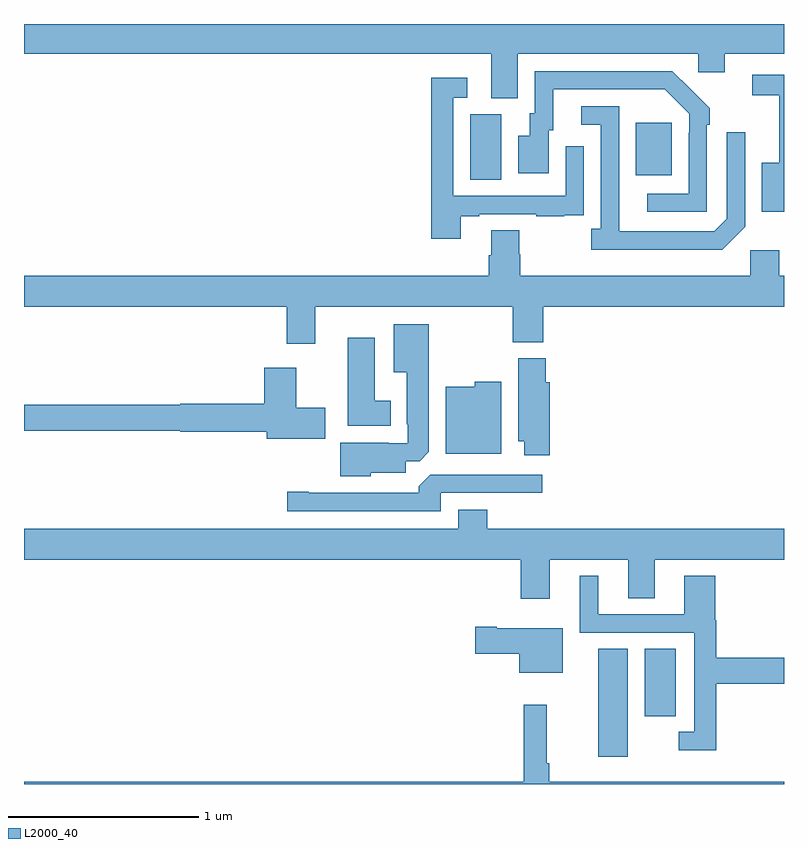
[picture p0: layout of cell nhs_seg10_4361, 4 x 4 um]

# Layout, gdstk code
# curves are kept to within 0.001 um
import gdstk
lib = gdstk.Library(unit=1e-6, precision=1e-09)
def R(c, l, rs):  # rectangles x0, y0, x1, y1
    for r in rs: c.add(gdstk.rectangle(r[:2], r[2:], *l))
def P(c, l, *ps):  # polygons
    for p in ps: c.add(gdstk.Polygon(p, *l))
L2000_40 = (2000, 40)

nhs_seg10_4361 = lib.new_cell('nhs_seg10_4361')
R(nhs_seg10_4361, L2000_40, [(360.023,1268.643,360.178,1269.212), (360.266,1268.856,360.43,1269.212), (359.348,1271.68,359.512,1272.024), (360.221,1271.705,360.409,1271.98)])
P(nhs_seg10_4361, L2000_40, [(359.599,1272.344),(360.549,1272.344),(360.549,1272.246),(360.688,1272.246),(360.688,1272.344),(361,1272.344),(361,1272.5),(357,1272.5),(357,1272.344),(359.459,1272.344),(359.459,1272.109),(359.599,1272.109)],
  [(360.594,1271.969),(360.609,1271.969),(360.609,1272.057),(360.412,1272.252),(359.688,1272.252),(359.688,1272.03),(359.663,1272.03),(359.663,1271.911),(359.6,1271.911),(359.6,1271.715),(359.761,1271.715),(359.761,1271.94),(359.785,1271.94),(359.785,1272.156),(360.373,1272.156),(360.501,1272.027),(360.501,1271.927),(360.498,1271.927),(360.498,1271.607),(360.279,1271.607),(360.279,1271.511),(360.594,1271.511)],
  [(361,1272.234),(360.834,1272.234),(360.834,1272.126),(360.974,1272.126),(360.974,1271.77),(360.884,1271.77),(360.884,1271.513),(361,1271.513)],
  [(359.299,1271.487),(359.395,1271.487),(359.395,1271.499),(359.695,1271.499),(359.695,1271.487),(359.843,1271.487),(359.843,1271.493),(359.945,1271.493),(359.945,1271.602),(359.946,1271.602),(359.946,1271.857),(359.85,1271.857),(359.85,1271.595),(359.259,1271.595),(359.259,1272.111),(359.332,1272.111),(359.332,1272.217),(359.143,1272.217),(359.143,1271.37),(359.299,1271.37)],
  [(360.795,1271.433),(360.795,1271.929),(360.699,1271.929),(360.699,1271.475),(360.633,1271.409),(360.133,1271.409),(360.132,1272.066),(359.934,1272.066),(359.934,1271.97),(360.036,1271.97),(360.036,1271.422),(359.985,1271.422),(359.985,1271.312),(360.674,1271.312)],
  [(358.534,1271.012),(359.572,1271.012),(359.572,1270.825),(359.732,1270.825),(359.732,1271.012),(361,1271.012),(361,1271.176),(360.974,1271.176),(360.974,1271.308),(360.822,1271.308),(360.822,1271.176),(359.612,1271.176),(359.612,1271.289),(359.607,1271.289),(359.607,1271.414),(359.459,1271.414),(359.459,1271.282),(359.447,1271.282),(359.447,1271.176),(357,1271.176),(357,1271.012),(358.382,1271.012),(358.382,1270.818),(358.534,1270.818)],
  [(358.824,1270.139),(359.008,1270.139),(359.008,1270.2),(359.082,1270.2),(359.131,1270.249),(359.131,1270.921),(358.946,1270.921),(358.946,1270.667),(359.015,1270.667),(359.015,1270.393),(359.019,1270.393),(359.019,1270.293),(358.919,1270.293),(358.919,1270.297),(358.664,1270.297),(358.664,1270.121),(358.824,1270.121)],
  [(358.93,1270.516),(358.846,1270.516),(358.846,1270.849),(358.703,1270.849),(358.703,1270.385),(358.93,1270.385)],
  [(359.768,1270.614),(359.747,1270.614),(359.747,1270.74),(359.6,1270.74),(359.6,1270.304),(359.633,1270.304),(359.633,1270.23),(359.768,1270.23)],
  [(358.585,1270.479),(358.432,1270.479),(358.432,1270.69),(358.265,1270.69),(358.265,1270.502),(357.822,1270.502),(357.822,1270.496),(357,1270.496),(357,1270.36),(357.822,1270.36),(357.822,1270.355),(358.277,1270.355),(358.277,1270.316),(358.585,1270.316)],
  [(359.512,1270.618),(359.373,1270.618),(359.373,1270.591),(359.219,1270.591),(359.219,1270.238),(359.512,1270.238)],
  [(359.193,1270.032),(359.728,1270.032),(359.728,1270.128),(359.139,1270.128),(359.078,1270.066),(359.078,1270.032),(358.498,1270.032),(358.498,1270.037),(358.386,1270.037),(358.386,1269.936),(359.193,1269.936)],
  [(359.767,1269.68),(360.179,1269.68),(360.179,1269.478),(360.319,1269.478),(360.319,1269.68),(361,1269.68),(361,1269.844),(359.438,1269.844),(359.438,1269.943),(359.285,1269.943),(359.285,1269.844),(357,1269.844),(357,1269.68),(359.615,1269.68),(359.615,1269.474),(359.767,1269.474)],
  [(360.644,1269.028),(361,1269.028),(361,1269.164),(360.644,1269.164),(360.644,1269.362),(360.638,1269.362),(360.638,1269.595),(360.476,1269.595),(360.476,1269.393),(360.022,1269.393),(360.022,1269.595),(359.924,1269.595),(359.924,1269.297),(360.528,1269.297),(360.528,1268.775),(360.447,1268.775),(360.447,1268.678),(360.644,1268.678)],
  [(359.836,1269.319),(359.488,1269.319),(359.488,1269.327),(359.376,1269.327),(359.376,1269.185),(359.606,1269.185),(359.606,1269.086),(359.836,1269.086)],
  [(357,1268.5),(361,1268.5),(361,1268.512),(359.765,1268.512),(359.765,1268.608),(359.75,1268.608),(359.75,1268.917),(359.629,1268.917),(359.629,1268.512),(357,1268.512)])

lib.write_gds('nhs_seg10_4361.gds')
